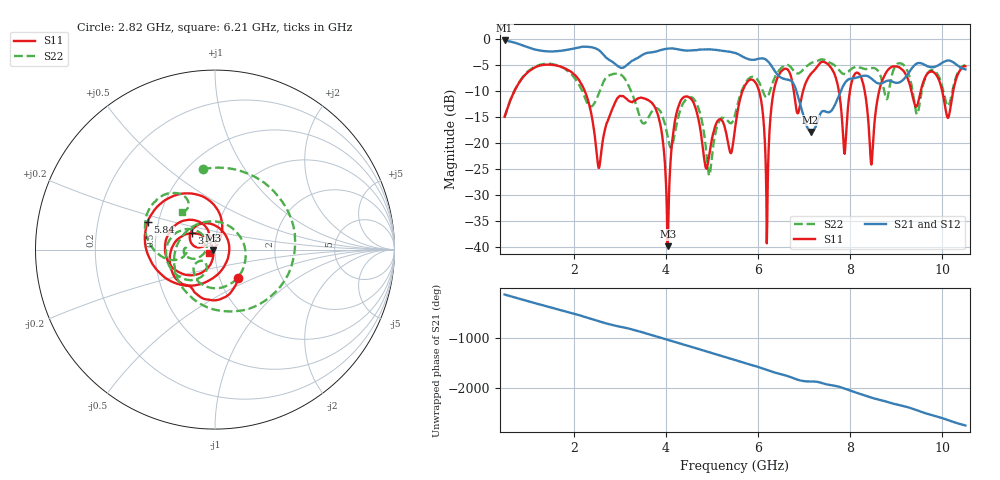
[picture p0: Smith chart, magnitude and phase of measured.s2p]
!Agilent Technologies,N5230C,MY49000750,A.09.42.22
!Agilent N5230C: A.09.42.22
!Date: Monday, December 15, 2025 11:48:29
!Correction: S11(Full 2 Port(1,2))
!S21(Full 2 Port(1,2))
!S12(Full 2 Port(1,2))
!S22(Full 2 Port(1,2))
!S2P File: Measurements: S11, S21, S12, S22:
# Hz S  RI  R 50
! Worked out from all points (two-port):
!   1001 points, 500 MHz to 10.5 GHz, reference 50 ohm
!   highest |S21| = -0.33 dB at 500 MHz (marker M1); lowest = -17.9 dB at 7.14 GHz (marker M2)
!   |S21| within 3 dB of the highest: start of sweep to 2.671 GHz; 3.45 GHz to 5.642 GHz (2.193 GHz wide, 48.2 % of centre)
!   lowest |S11| = -39.8 dB at 4.04 GHz (marker M3), VSWR 1.02, Z = 49 - j0.24 ohm
!   |S11| at or under -10 dB: 2.238 GHz to 5.665 GHz (3.427 GHz wide, 86.7 % of centre); 6.021 GHz to 6.342 GHz (321 MHz wide, 5.19 % of centre); 8.313 GHz to 8.629 GHz (316.1 MHz wide, 3.73 % of centre)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
!   |S22| runs from -26.3 to -3.9 dB; largest |S21 - S12| = 0.003
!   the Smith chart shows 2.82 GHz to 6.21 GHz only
!   S11 on the Smith chart (normalised r, x): 2.82 GHz: 1.22, -0.40; 3.87 GHz: 0.76, +0.14; 5.84 GHz: 0.44, +0.16; 6.21 GHz: 0.93, -0.04
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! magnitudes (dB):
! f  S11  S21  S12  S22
! 500 MHz  -15.0  -0.3  -0.3  -15.1
! 2.17 GHz  -8.7  -1.6  -1.5  -9.7
! 2.54 GHz  -24.8  -2.2  -2.2  -10.6
! 2.82 GHz  -13.9  -4.3  -4.3  -6.9
! 3.84 GHz  -15.0  -2.3  -2.3  -13.5
! 3.87 GHz  -16.1  -2.2  -2.2  -13.8
! 4.04 GHz  -39.8  -1.9  -1.9  -18.8
! 4.37 GHz  -11.3  -2.2  -2.2  -12.5
! 4.94 GHz  -22.4  -2.0  -2.1  -26.3
! 5.5 GHz  -17.3  -2.7  -2.7  -14.7
! 5.84 GHz  -7.8  -4.0  -4.0  -7.4
! 6.21 GHz  -27.9  -4.3  -4.3  -11.1
! 6.43 GHz  -7.3  -7.0  -6.9  -6.4
! 7.14 GHz  -6.8  -17.9  -17.9  -4.7
! 7.17 GHz  -6.5  -17.9  -17.9  -4.6
! 7.63 GHz  -6.2  -13.3  -13.4  -4.9
! 7.88 GHz  -22.1  -8.6  -8.6  -6.8
! 8.2 GHz  -6.8  -7.3  -7.3  -5.5
! 8.46 GHz  -24.2  -7.6  -7.6  -5.7
! 8.84 GHz  -5.8  -8.0  -8.0  -10.0
! 10.12 GHz  -15.2  -4.2  -4.2  -12.9
! 10.5 GHz  -5.3  -5.9  -5.9  -5.1
